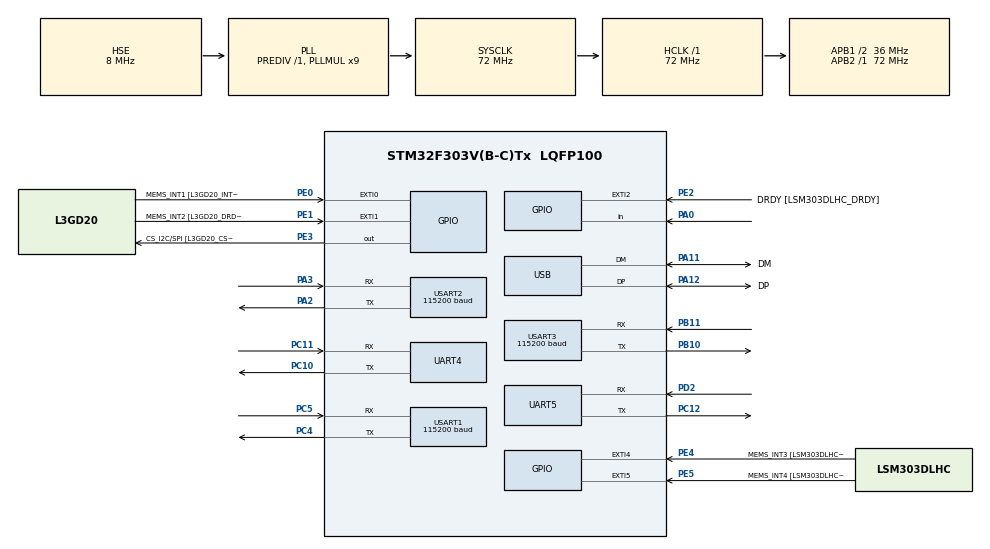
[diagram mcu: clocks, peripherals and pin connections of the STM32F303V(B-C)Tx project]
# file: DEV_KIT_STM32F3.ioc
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Mcu.Family=STM32F3
Mcu.Name=STM32F303V(B-C)Tx
Mcu.Package=LQFP100
NVIC.PriorityGroup=NVIC_PRIORITYGROUP_0
NVIC.TIM2_IRQn=true\:0\:0\:false\:false\:true\:true\:true
NVIC.UART4_IRQn=true\:0\:0\:false\:false\:true\:true\:true
NVIC.UART5_IRQn=true\:0\:0\:false\:false\:true\:true\:true
NVIC.USART1_IRQn=true\:0\:0\:false\:false\:true\:true\:true
NVIC.USART2_IRQn=true\:0\:0\:false\:false\:true\:true\:true
NVIC.USART3_IRQn=true\:0\:0\:false\:false\:true\:true\:true
PA0.Signal=GPIO_Input
PA11.GPIO_Label=DM
PA11.Mode=Device
PA11.Signal=USB_DM
PA12.GPIO_Label=DP
PA12.Mode=Device
PA12.Signal=USB_DP
PA13.GPIO_Label=SWDIO
PA13.Mode=Serial_Wire
PA13.Signal=SYS_JTMS-SWDIO
PA14.GPIO_Label=SWCLK
PA14.Mode=Serial_Wire
PA14.Signal=SYS_JTCK-SWCLK
PA2.Mode=Asynchronous
PA2.Signal=USART2_TX
PA3.Mode=Asynchronous
PA3.Signal=USART2_RX
PA5.GPIO_Label=SPI1_SCK [L3GD20_SCL/SPC]
PA5.Signal=SPI1_SCK
PA6.GPIO_Label=SPI1_MISO [L3GD20_SA0/SDO]
PA6.Signal=SPI1_MISO
PA7.GPIO_Label=SPI1_MISO [L3GD20_SDA/SDI/SDO]
PA7.Signal=SPI1_MOSI
PB10.Mode=Asynchronous
PB10.Signal=USART3_TX
PB11.Mode=Asynchronous
PB11.Signal=USART3_RX
PB3.GPIO_Label=SWO
PB3.Signal=SYS_JTDO-TRACESWO
PB6.GPIO_Label=I2C1_SCL [LSM303DLHC_SCL]
PB6.GPIO_Pu=GPIO_PULLUP
PB6.Signal=I2C1_SCL
PB7.GPIO_Label=I2C1_SDA [LSM303DLHC_SDA]
PB7.GPIO_Pu=GPIO_PULLUP
PB7.Signal=I2C1_SDA
PC10.Mode=Asynchronous
PC10.Signal=UART4_TX
PC11.Mode=Asynchronous
PC11.Signal=UART4_RX
PC12.Mode=Asynchronous
PC12.Signal=UART5_TX
PC14-OSC32_IN.GPIO_Label=OSC32_IN
PC14-OSC32_IN.Signal=RCC_OSC32_IN
PC15-OSC32_OUT.GPIO_Label=OSC32_OUT
PC15-OSC32_OUT.Signal=RCC_OSC32_OUT
PC4.Mode=Asynchronous
PC4.Signal=USART1_TX
PC5.Mode=Asynchronous
PC5.Signal=USART1_RX
PD2.Mode=Asynchronous
PD2.Signal=UART5_RX
PE0.GPIO_Label=MEMS_INT1 [L3GD20_INT1]
PE0.GPIO_ModeDefaultEXTI=GPIO_MODE_EVT_RISING
PE0.Signal=GPXTI0
PE1.GPIO_Label=MEMS_INT2 [L3GD20_DRDY/INT2]
PE1.GPIO_ModeDefaultEXTI=GPIO_MODE_EVT_RISING
PE1.Signal=GPXTI1
PE2.GPIO_Label=DRDY [LSM303DLHC_DRDY]
PE2.GPIO_ModeDefaultEXTI=GPIO_MODE_EVT_RISING
PE2.Signal=GPXTI2
PE3.GPIO_Label=CS_I2C/SPI [L3GD20_CS_I2C/SPI]
PE3.Signal=GPIO_Output
PE4.GPIO_Label=MEMS_INT3 [LSM303DLHC_INT1]
PE4.GPIO_ModeDefaultEXTI=GPIO_MODE_EVT_RISING
PE4.Signal=GPXTI4
PE5.GPIO_Label=MEMS_INT4 [LSM303DLHC_INT2]
PE5.GPIO_ModeDefaultEXTI=GPIO_MODE_EVT_RISING
PE5.Signal=GPXTI5
PF0-OSC_IN.GPIO_Label=OSC_IN
PF0-OSC_IN.Mode=HSE-External-Clock-Source
PF0-OSC_IN.Signal=RCC_OSC_IN
PF1-OSC_OUT.GPIO_Label=OSC_OUT
PF1-OSC_OUT.Signal=RCC_OSC_OUT
ProjectManager.HeapSize=0x200
ProjectManager.StackSize=0x400
ProjectManager.TargetToolchain=STM32CubeIDE
RCC.AHBFreq_Value=72000000
RCC.APB1CLKDivider=RCC_HCLK_DIV2
RCC.APB1Freq_Value=36000000
RCC.APB1TimFreq_Value=72000000
RCC.APB2Freq_Value=72000000
RCC.APB2TimFreq_Value=72000000
RCC.CortexFreq_Value=72000000
RCC.HCLKFreq_Value=72000000
RCC.HSE_VALUE=8000000
RCC.HSI_VALUE=8000000
RCC.LSE_VALUE=32768
RCC.PLLMUL=RCC_PLL_MUL9
RCC.PRESCALERUSB=RCC_USBCLKSOURCE_PLL_DIV1_5
RCC.SYSCLKFreq_VALUE=72000000
RCC.SYSCLKSourceVirtual=RCC_SYSCLKSOURCE_PLLCLK
RCC.USBFreq_Value=48000000
TIM2.Period=9000-1
TIM2.Prescaler=8000-1
USART1.BaudRate=115200
USART1.VirtualMode-Asynchronous=VM_ASYNC
USART2.BaudRate=115200
USART2.VirtualMode-Asynchronous=VM_ASYNC
USART3.BaudRate=115200
USART3.VirtualMode-Asynchronous=VM_ASYNC
VP_RTC_VS_RTC_Activate.Mode=RTC_Enabled
VP_TIM2_VS_ClockSourceINT.Mode=Internal
board=STM32F3DISCOVERY

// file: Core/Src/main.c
/* USER CODE BEGIN Header */
/**
  ******************************************************************************
  * @file           : main.c
  * @brief          : Main program body
  ******************************************************************************
  * @attention
  *
  * Copyright (c) 2023 STMicroelectronics.
  * All rights reserved.
  *
  * This software is licensed under terms that can be found in the LICENSE file
  * in the root directory of this software component.
  * If no LICENSE file comes with this software, it is provided AS-IS.
  *
  ******************************************************************************
  */
/* USER CODE END Header */
#include "main.h"

/* USER CODE BEGIN PTD */
#define GLOBAL_CCMRAM __attribute__((section (".ccmram")));
uint32_t timer_counter       GLOBAL_CCMRAM;
uint8_t  UART1_rxBuffer[1]   GLOBAL_CCMRAM;
/* USER CODE END PTD */

RTC_HandleTypeDef hrtc;

TIM_HandleTypeDef htim2;

UART_HandleTypeDef huart4;
UART_HandleTypeDef huart5;
UART_HandleTypeDef huart1;
UART_HandleTypeDef huart2;
UART_HandleTypeDef huart3;

PCD_HandleTypeDef hpcd_USB_FS;

void SystemClock_Config(void);
static void MX_GPIO_Init(void);
/* USER CODE BEGIN PFP */
#define PUTCHAR_PROTOTYPE int __io_putchar(int ch)
/* USER CODE END PFP */

/* USER CODE BEGIN 0 */
void DRV_TIM_PERIOD_ELAPSED_CALLBACK(TIM_HandleTypeDef *htim)
{
	if(htim->Instance == TIM2)
	{
		DRV_TIMER_FNC(0);
	}
}

void DRV_UART_RX_CPLT_CALLBACK(UART_HandleTypeDef *huart)
{
	if(huart->Instance == USART1)
	{
		DRV_UART_RECEIVE_IT(&huart1, UART1_rxBuffer, 1);
	    UART_IRQ(RCU_USART1, UART1_rxBuffer[0]);
	}
}

/* USER CODE END 0 */

int main(void)
{

  /* MCU Configuration--------------------------------------------------------*/

  /* Reset of all peripherals, Initializes the Flash interface and the Systick. */
  HAL_Init();

  /* Configure the system clock */
  SystemClock_Config();

  /* Initialize all configured peripherals */
  MX_GPIO_Init();
  MX_USB_PCD_Init();
  MX_RTC_Init();
  MX_TIM2_Init();
  MX_UART4_Init();
  MX_UART5_Init();
  MX_USART1_UART_Init();
  MX_USART2_UART_Init();
  MX_USART3_UART_Init();
  /* USER CODE BEGIN 2 */
  DRV_TIM_BASE_START_IT(&htim2);
  init_test_callback();
  DRV_UART_RECEIVE_IT(&huart1, UART1_rxBuffer, 1);
  PLOG_Init();
  flash_init();
  module_init();
  LOGA(USER, "DEV KIT STMF303 Welcome!!\r\n");
  /* USER CODE END 2 */

  /* Infinite loop */
  while (1)
  {

    /* USER CODE BEGIN 3 */
	DRV_RUN();
	TEST_CBK.run();
  }
  /* USER CODE END 3 */
}

void SystemClock_Config(void)
{
  RCC_OscInitTypeDef RCC_OscInitStruct = {0};
  RCC_ClkInitTypeDef RCC_ClkInitStruct = {0};
  RCC_PeriphCLKInitTypeDef PeriphClkInit = {0};

  /** Initializes the RCC Oscillators according to the specified parameters
  * in the RCC_OscInitTypeDef structure.
  */
  RCC_OscInitStruct.OscillatorType = RCC_OSCILLATORTYPE_LSI|RCC_OSCILLATORTYPE_HSE;
  RCC_OscInitStruct.HSEState = RCC_HSE_BYPASS;
  RCC_OscInitStruct.HSEPredivValue = RCC_HSE_PREDIV_DIV1;
  RCC_OscInitStruct.HSIState = RCC_HSI_ON;
  RCC_OscInitStruct.LSIState = RCC_LSI_ON;
  RCC_OscInitStruct.PLL.PLLState = RCC_PLL_ON;
  RCC_OscInitStruct.PLL.PLLSource = RCC_PLLSOURCE_HSE;
  RCC_OscInitStruct.PLL.PLLMUL = RCC_PLL_MUL9;
  if (HAL_RCC_OscConfig(&RCC_OscInitStruct) != HAL_OK)
  {
    Error_Handler();
  }
  /** Initializes the CPU, AHB and APB buses clocks
  */
  RCC_ClkInitStruct.ClockType = RCC_CLOCKTYPE_HCLK|RCC_CLOCKTYPE_SYSCLK
                              |RCC_CLOCKTYPE_PCLK1|RCC_CLOCKTYPE_PCLK2;
  RCC_ClkInitStruct.SYSCLKSource = RCC_SYSCLKSOURCE_PLLCLK;
  RCC_ClkInitStruct.AHBCLKDivider = RCC_SYSCLK_DIV1;
  RCC_ClkInitStruct.APB1CLKDivider = RCC_HCLK_DIV2;
  RCC_ClkInitStruct.APB2CLKDivider = RCC_HCLK_DIV1;

  if (HAL_RCC_ClockConfig(&RCC_ClkInitStruct, FLASH_LATENCY_2) != HAL_OK)
  {
    Error_Handler();
  }
  PeriphClkInit.PeriphClockSelection = RCC_PERIPHCLK_USB|RCC_PERIPHCLK_USART1
                              |RCC_PERIPHCLK_USART2|RCC_PERIPHCLK_USART3
                              |RCC_PERIPHCLK_UART4|RCC_PERIPHCLK_UART5
                              |RCC_PERIPHCLK_RTC;
  PeriphClkInit.Usart1ClockSelection = RCC_USART1CLKSOURCE_PCLK2;
  PeriphClkInit.Usart2ClockSelection = RCC_USART2CLKSOURCE_PCLK1;
  PeriphClkInit.Usart3ClockSelection = RCC_USART3CLKSOURCE_PCLK1;
  PeriphClkInit.Uart4ClockSelection = RCC_UART4CLKSOURCE_PCLK1;
  PeriphClkInit.Uart5ClockSelection = RCC_UART5CLKSOURCE_PCLK1;
  PeriphClkInit.RTCClockSelection = RCC_RTCCLKSOURCE_LSI;
  PeriphClkInit.USBClockSelection = RCC_USBCLKSOURCE_PLL_DIV1_5;
  if (HAL_RCCEx_PeriphCLKConfig(&PeriphClkInit) != HAL_OK)
  {
    Error_Handler();
  }
}

void MX_RTC_Init(void)
{

  /** Initialize RTC Only
  */
  hrtc.Instance = RTC;
  hrtc.Init.HourFormat = RTC_HOURFORMAT_24;
  hrtc.Init.AsynchPrediv = 127;
  hrtc.Init.SynchPrediv = 255;
  hrtc.Init.OutPut = RTC_OUTPUT_DISABLE;
  hrtc.Init.OutPutPolarity = RTC_OUTPUT_POLARITY_HIGH;
  hrtc.Init.OutPutType = RTC_OUTPUT_TYPE_OPENDRAIN;
  if (HAL_RTC_Init(&hrtc) != HAL_OK)
  {
    Error_Handler();
  }

}

void MX_TIM2_Init(void)
{

  TIM_ClockConfigTypeDef sClockSourceConfig = {0};
  TIM_MasterConfigTypeDef sMasterConfig = {0};

  htim2.Instance = TIM2;
  htim2.Init.Prescaler = 8000-1;
  htim2.Init.CounterMode = TIM_COUNTERMODE_UP;
  htim2.Init.Period = 9000-1;
  htim2.Init.ClockDivision = TIM_CLOCKDIVISION_DIV1;
  htim2.Init.AutoReloadPreload = TIM_AUTORELOAD_PRELOAD_DISABLE;
  if (HAL_TIM_Base_Init(&htim2) != HAL_OK)
  {
    Error_Handler();
  }
  sClockSourceConfig.ClockSource = TIM_CLOCKSOURCE_INTERNAL;
  if (HAL_TIM_ConfigClockSource(&htim2, &sClockSourceConfig) != HAL_OK)
  {
    Error_Handler();
  }
  sMasterConfig.MasterOutputTrigger = TIM_TRGO_RESET;
  sMasterConfig.MasterSlaveMode = TIM_MASTERSLAVEMODE_DISABLE;
  if (HAL_TIMEx_MasterConfigSynchronization(&htim2, &sMasterConfig) != HAL_OK)
  {
    Error_Handler();
  }
  /* USER CODE BEGIN TIM2_Init 2 */
	LOGA(INF_FILE, "REGISTER\r\n");
	Drv_RegisterTIMER();
  /* USER CODE END TIM2_Init 2 */

}

void MX_UART4_Init(void)
{

  huart4.Instance = UART4;
  huart4.Init.BaudRate = 115200;
  huart4.Init.WordLength = UART_WORDLENGTH_8B;
  huart4.Init.StopBits = UART_STOPBITS_1;
  huart4.Init.Parity = UART_PARITY_NONE;
  huart4.Init.Mode = UART_MODE_TX_RX;
  huart4.Init.HwFlowCtl = UART_HWCONTROL_NONE;
  huart4.Init.OverSampling = UART_OVERSAMPLING_16;
  huart4.Init.OneBitSampling = UART_ONE_BIT_SAMPLE_DISABLE;
  huart4.AdvancedInit.AdvFeatureInit = UART_ADVFEATURE_NO_INIT;
  if (HAL_UART_Init(&huart4) != HAL_OK)
  {
    Error_Handler();
  }

}

void MX_UART5_Init(void)
{

  huart5.Instance = UART5;
  huart5.Init.BaudRate = 115200;
  huart5.Init.WordLength = UART_WORDLENGTH_8B;
  huart5.Init.StopBits = UART_STOPBITS_1;
  huart5.Init.Parity = UART_PARITY_NONE;
  huart5.Init.Mode = UART_MODE_TX_RX;
  huart5.Init.HwFlowCtl = UART_HWCONTROL_NONE;
  huart5.Init.OverSampling = UART_OVERSAMPLING_16;
  huart5.Init.OneBitSampling = UART_ONE_BIT_SAMPLE_DISABLE;
  huart5.AdvancedInit.AdvFeatureInit = UART_ADVFEATURE_NO_INIT;
  if (HAL_UART_Init(&huart5) != HAL_OK)
  {
    Error_Handler();
  }

}

void MX_USART1_UART_Init(void)
{

  huart1.Instance = USART1;
  huart1.Init.BaudRate = 115200;
  huart1.Init.WordLength = UART_WORDLENGTH_8B;
  huart1.Init.StopBits = UART_STOPBITS_1;
  huart1.Init.Parity = UART_PARITY_NONE;
  huart1.Init.Mode = UART_MODE_TX_RX;
  huart1.Init.HwFlowCtl = UART_HWCONTROL_NONE;
  huart1.Init.OverSampling = UART_OVERSAMPLING_16;
  huart1.Init.OneBitSampling = UART_ONE_BIT_SAMPLE_DISABLE;
  huart1.AdvancedInit.AdvFeatureInit = UART_ADVFEATURE_NO_INIT;
  if (HAL_UART_Init(&huart1) != HAL_OK)
  {
    Error_Handler();
  }

}

void MX_USART2_UART_Init(void)
{

  huart2.Instance = USART2;
  huart2.Init.BaudRate = 115200;
  huart2.Init.WordLength = UART_WORDLENGTH_8B;
  huart2.Init.StopBits = UART_STOPBITS_1;
  huart2.Init.Parity = UART_PARITY_NONE;
  huart2.Init.Mode = UART_MODE_TX_RX;
  huart2.Init.HwFlowCtl = UART_HWCONTROL_NONE;
  huart2.Init.OverSampling = UART_OVERSAMPLING_16;
  huart2.Init.OneBitSampling = UART_ONE_BIT_SAMPLE_DISABLE;
  huart2.AdvancedInit.AdvFeatureInit = UART_ADVFEATURE_NO_INIT;
  if (HAL_UART_Init(&huart2) != HAL_OK)
  {
    Error_Handler();
  }

}

void MX_USART3_UART_Init(void)
{

  huart3.Instance = USART3;
  huart3.Init.BaudRate = 115200;
  huart3.Init.WordLength = UART_WORDLENGTH_8B;
  huart3.Init.StopBits = UART_STOPBITS_1;
  huart3.Init.Parity = UART_PARITY_NONE;
  huart3.Init.Mode = UART_MODE_TX_RX;
  huart3.Init.HwFlowCtl = UART_HWCONTROL_NONE;
  huart3.Init.OverSampling = UART_OVERSAMPLING_16;
  huart3.Init.OneBitSampling = UART_ONE_BIT_SAMPLE_DISABLE;
  huart3.AdvancedInit.AdvFeatureInit = UART_ADVFEATURE_NO_INIT;
  if (HAL_UART_Init(&huart3) != HAL_OK)
  {
    Error_Handler();
  }

}

void MX_USB_PCD_Init(void)
{

  hpcd_USB_FS.Instance = USB;
  hpcd_USB_FS.Init.dev_endpoints = 8;
  hpcd_USB_FS.Init.speed = PCD_SPEED_FULL;
  hpcd_USB_FS.Init.phy_itface = PCD_PHY_EMBEDDED;
  hpcd_USB_FS.Init.low_power_enable = DISABLE;
  hpcd_USB_FS.Init.battery_charging_enable = DISABLE;
  if (HAL_PCD_Init(&hpcd_USB_FS) != HAL_OK)
  {
    Error_Handler();
  }

}

static void MX_GPIO_Init(void)
{
  GPIO_InitTypeDef GPIO_InitStruct = {0};

  /* GPIO Ports Clock Enable */
  __HAL_RCC_GPIOE_CLK_ENABLE();
  __HAL_RCC_GPIOC_CLK_ENABLE();
  __HAL_RCC_GPIOF_CLK_ENABLE();
  __HAL_RCC_GPIOA_CLK_ENABLE();
  __HAL_RCC_GPIOB_CLK_ENABLE();
  __HAL_RCC_GPIOD_CLK_ENABLE();

  /*Configure GPIO pin Output Level */
  HAL_GPIO_WritePin(CS_I2C_SPI_GPIO_Port, CS_I2C_SPI_Pin, GPIO_PIN_RESET);

  /*Configure GPIO pins : DRDY_Pin MEMS_INT3_Pin MEMS_INT4_Pin MEMS_INT1_Pin
                           MEMS_INT2_Pin */
  GPIO_InitStruct.Pin = DRDY_Pin|MEMS_INT3_Pin|MEMS_INT4_Pin|MEMS_INT1_Pin
                          |MEMS_INT2_Pin;
  GPIO_InitStruct.Mode = GPIO_MODE_EVT_RISING;
  GPIO_InitStruct.Pull = GPIO_NOPULL;
  HAL_GPIO_Init(GPIOE, &GPIO_InitStruct);

  /*Configure GPIO pin : CS_I2C_SPI_Pin */
  GPIO_InitStruct.Pin = CS_I2C_SPI_Pin;
  GPIO_InitStruct.Mode = GPIO_MODE_OUTPUT_PP;
  GPIO_InitStruct.Pull = GPIO_NOPULL;
  GPIO_InitStruct.Speed = GPIO_SPEED_FREQ_LOW;
  HAL_GPIO_Init(CS_I2C_SPI_GPIO_Port, &GPIO_InitStruct);

  /*Configure GPIO pin : PA0 */
  GPIO_InitStruct.Pin = GPIO_PIN_0;
  GPIO_InitStruct.Mode = GPIO_MODE_INPUT;
  GPIO_InitStruct.Pull = GPIO_NOPULL;
  HAL_GPIO_Init(GPIOA, &GPIO_InitStruct);

  /*Configure GPIO pins : SPI1_SCK_Pin SPI1_MISO_Pin SPI1_MISOA7_Pin */
  GPIO_InitStruct.Pin = SPI1_SCK_Pin|SPI1_MISO_Pin|SPI1_MISOA7_Pin;
  GPIO_InitStruct.Mode = GPIO_MODE_AF_PP;
  GPIO_InitStruct.Pull = GPIO_NOPULL;
  GPIO_InitStruct.Speed = GPIO_SPEED_FREQ_HIGH;
  GPIO_InitStruct.Alternate = GPIO_AF5_SPI1;
  HAL_GPIO_Init(GPIOA, &GPIO_InitStruct);

  /*Configure GPIO pins : I2C1_SCL_Pin I2C1_SDA_Pin */
  GPIO_InitStruct.Pin = I2C1_SCL_Pin|I2C1_SDA_Pin;
  GPIO_InitStruct.Mode = GPIO_MODE_AF_OD;
  GPIO_InitStruct.Pull = GPIO_PULLUP;
  GPIO_InitStruct.Speed = GPIO_SPEED_FREQ_HIGH;
  GPIO_InitStruct.Alternate = GPIO_AF4_I2C1;
  HAL_GPIO_Init(GPIOB, &GPIO_InitStruct);

}

/* USER CODE BEGIN 4 */
/**
  * @brief  Retargets the C library printf function to the USART.
  * @param  None
  * @retval None
  */
PUTCHAR_PROTOTYPE
{
  /* Place your implementation of fputc here */
  /* e.g. write a character to the USART1 and Loop until the end of transmission */
  HAL_UART_Transmit(&huart1, (uint8_t *)&ch, 1, 0xFFFF);

  return ch;
}
/* USER CODE END 4 */

void Error_Handler(void)
{
  __disable_irq();
  while (1)
  {
  }
}
